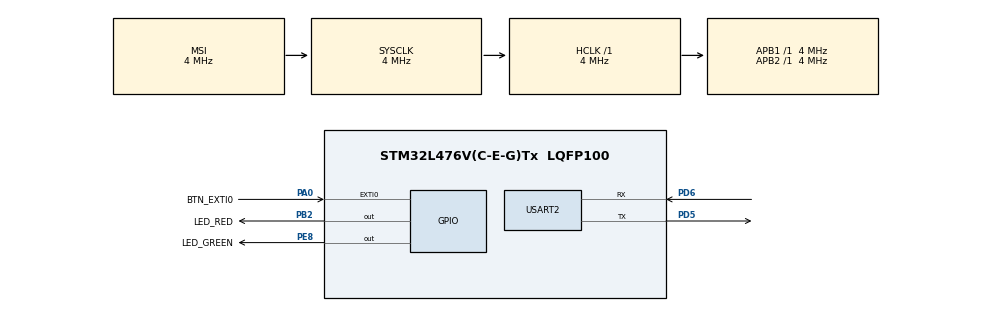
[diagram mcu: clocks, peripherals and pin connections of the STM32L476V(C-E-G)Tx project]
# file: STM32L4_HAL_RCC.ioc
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Mcu.Family=STM32L4
Mcu.Name=STM32L476V(C-E-G)Tx
Mcu.Package=LQFP100
NVIC.PriorityGroup=NVIC_PRIORITYGROUP_4
PA0.GPIO_Label=BTN_EXTI0
PA0.Signal=GPXTI0
PA13\ (JTMS-SWDIO).Mode=Serial_Wire
PA13\ (JTMS-SWDIO).Signal=SYS_JTMS-SWDIO
PA14\ (JTCK-SWCLK).Mode=Serial_Wire
PA14\ (JTCK-SWCLK).Signal=SYS_JTCK-SWCLK
PA2.Mode=Clock-out-LSCO
PA2.Signal=RCC_LSCO
PB2.GPIO_Label=LED_RED
PB2.Signal=GPIO_Output
PC14-OSC32_IN\ (PC14).Mode=LSE-External-Oscillator
PC14-OSC32_IN\ (PC14).Signal=RCC_OSC32_IN
PC15-OSC32_OUT\ (PC15).Mode=LSE-External-Oscillator
PC15-OSC32_OUT\ (PC15).Signal=RCC_OSC32_OUT
PD5.Mode=Asynchronous
PD5.Signal=USART2_TX
PD6.Mode=Asynchronous
PD6.Signal=USART2_RX
PE8.GPIO_Label=LED_GREEN
PE8.Signal=GPIO_Output
ProjectManager.HeapSize=0x200
ProjectManager.StackSize=0x400
ProjectManager.TargetToolchain=STM32CubeIDE
RCC.ADCFreq_Value=48000000
RCC.AHBFreq_Value=4000000
RCC.APB1Freq_Value=4000000
RCC.APB1TimFreq_Value=4000000
RCC.APB2Freq_Value=4000000
RCC.APB2TimFreq_Value=4000000
RCC.CortexFreq_Value=4000000
RCC.HCLKFreq_Value=4000000
RCC.HSE_VALUE=8000000
RCC.HSI_VALUE=16000000
RCC.MSI_VALUE=4000000
RCC.PLLN=40
RCC.PLLSAI1N=24
RCC.SYSCLKFreq_VALUE=4000000
RCC.USBFreq_Value=48000000
RCC.VCOOutputFreq_Value=160000000
USART2.VirtualMode-Asynchronous=VM_ASYNC
board=STM32L476G-DISCO

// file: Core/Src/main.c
/* USER CODE BEGIN Header */
/**
  ******************************************************************************
  * @file           : main.c
  * @brief          : Main program body
  ******************************************************************************
  * @attention
  *
  * Copyright (c) 2023 STMicroelectronics.
  * All rights reserved.
  *
  * This software is licensed under terms that can be found in the LICENSE file
  * in the root directory of this software component.
  * If no LICENSE file comes with this software, it is provided AS-IS.
  *
  ******************************************************************************
  */
/* USER CODE END Header */
#include "main.h"
#include "usart.h"
#include "gpio.h"

void SystemClock_Config(void);

int main(void)
{
  /* USER CODE BEGIN 1 */

  RCC_OscInitTypeDef RCC_OscInitStruct;
  RCC_ClkInitTypeDef RCC_ClkInitStruct;

  /* USER CODE END 1 */

  /* MCU Configuration--------------------------------------------------------*/

  /* Reset of all peripherals, Initializes the Flash interface and the Systick. */
  HAL_Init();

  /* Configure the system clock */
  SystemClock_Config();

  /* Initialize all configured peripherals */
  MX_GPIO_Init();
  MX_USART2_UART_Init();
  /* USER CODE BEGIN 2 */

  // change from MSI to HSI
  RCC_OscInitStruct.OscillatorType = RCC_OSCILLATORTYPE_HSI;
  RCC_OscInitStruct.HSIState = RCC_HSI_ON;
  RCC_OscInitStruct.HSICalibrationValue = RCC_HSICALIBRATION_DEFAULT;
  RCC_OscInitStruct.PLL.PLLState = RCC_PLL_ON;
  RCC_OscInitStruct.PLL.PLLSource = RCC_PLLSOURCE_HSI;
  RCC_OscInitStruct.PLL.PLLM = 1;
  RCC_OscInitStruct.PLL.PLLN = 10;
  RCC_OscInitStruct.PLL.PLLP = 7;
  RCC_OscInitStruct.PLL.PLLQ = 2;
  RCC_OscInitStruct.PLL.PLLR = 2;

  if(HAL_RCC_OscConfig(&RCC_OscInitStruct) != HAL_OK)
  {
    Error_Handler();
  }

  RCC_ClkInitStruct.ClockType = RCC_CLOCKTYPE_SYSCLK | RCC_CLOCKTYPE_HCLK | RCC_CLOCKTYPE_PCLK1 | RCC_CLOCKTYPE_PCLK2;
  RCC_ClkInitStruct.SYSCLKSource = RCC_SYSCLKSOURCE_PLLCLK;
  RCC_ClkInitStruct.AHBCLKDivider = RCC_SYSCLK_DIV1;
  RCC_ClkInitStruct.APB1CLKDivider = RCC_HCLK_DIV1;
  RCC_ClkInitStruct.APB2CLKDivider = RCC_HCLK_DIV1;

  if(HAL_RCC_ClockConfig(&RCC_ClkInitStruct, FLASH_LATENCY_4) != HAL_OK)
  {
    Error_Handler();
  }

  /* USER CODE END 2 */

  /* Infinite loop */
  while (1)
  {

    /* USER CODE BEGIN 3 */
    HAL_GPIO_TogglePin(LED_GREEN_GPIO_Port, LED_GREEN_Pin);
    HAL_Delay(100);
  }
  /* USER CODE END 3 */
}

void SystemClock_Config(void)
{
  RCC_OscInitTypeDef RCC_OscInitStruct = {0};
  RCC_ClkInitTypeDef RCC_ClkInitStruct = {0};

  /** Configure the main internal regulator output voltage
  */
  if (HAL_PWREx_ControlVoltageScaling(PWR_REGULATOR_VOLTAGE_SCALE1) != HAL_OK)
  {
    Error_Handler();
  }

  /** Configure LSE Drive Capability
  */
  HAL_PWR_EnableBkUpAccess();
  __HAL_RCC_LSEDRIVE_CONFIG(RCC_LSEDRIVE_LOW);

  /** Initializes the RCC Oscillators according to the specified parameters
  * in the RCC_OscInitTypeDef structure.
  */
  RCC_OscInitStruct.OscillatorType = RCC_OSCILLATORTYPE_LSI|RCC_OSCILLATORTYPE_LSE
                              |RCC_OSCILLATORTYPE_MSI;
  RCC_OscInitStruct.LSEState = RCC_LSE_ON;
  RCC_OscInitStruct.LSIState = RCC_LSI_ON;
  RCC_OscInitStruct.MSIState = RCC_MSI_ON;
  RCC_OscInitStruct.MSICalibrationValue = 0;
  RCC_OscInitStruct.MSIClockRange = RCC_MSIRANGE_6;
  RCC_OscInitStruct.PLL.PLLState = RCC_PLL_NONE;
  if (HAL_RCC_OscConfig(&RCC_OscInitStruct) != HAL_OK)
  {
    Error_Handler();
  }

  /** Initializes the CPU, AHB and APB buses clocks
  */
  RCC_ClkInitStruct.ClockType = RCC_CLOCKTYPE_HCLK|RCC_CLOCKTYPE_SYSCLK
                              |RCC_CLOCKTYPE_PCLK1|RCC_CLOCKTYPE_PCLK2;
  RCC_ClkInitStruct.SYSCLKSource = RCC_SYSCLKSOURCE_MSI;
  RCC_ClkInitStruct.AHBCLKDivider = RCC_SYSCLK_DIV1;
  RCC_ClkInitStruct.APB1CLKDivider = RCC_HCLK_DIV1;
  RCC_ClkInitStruct.APB2CLKDivider = RCC_HCLK_DIV1;

  if (HAL_RCC_ClockConfig(&RCC_ClkInitStruct, FLASH_LATENCY_0) != HAL_OK)
  {
    Error_Handler();
  }
  HAL_RCCEx_EnableLSCO(RCC_LSCOSOURCE_LSI);

  /** Enable MSI Auto calibration
  */
  HAL_RCCEx_EnableMSIPLLMode();
}

void Error_Handler(void)
{
  /* USER CODE BEGIN Error_Handler_Debug */
  /* User can add his own implementation to report the HAL error return state */
  __disable_irq();
  while (1)
  {
    HAL_GPIO_WritePin(LED_RED_GPIO_Port, LED_RED_Pin, GPIO_PIN_SET);
  }
  /* USER CODE END Error_Handler_Debug */
}
